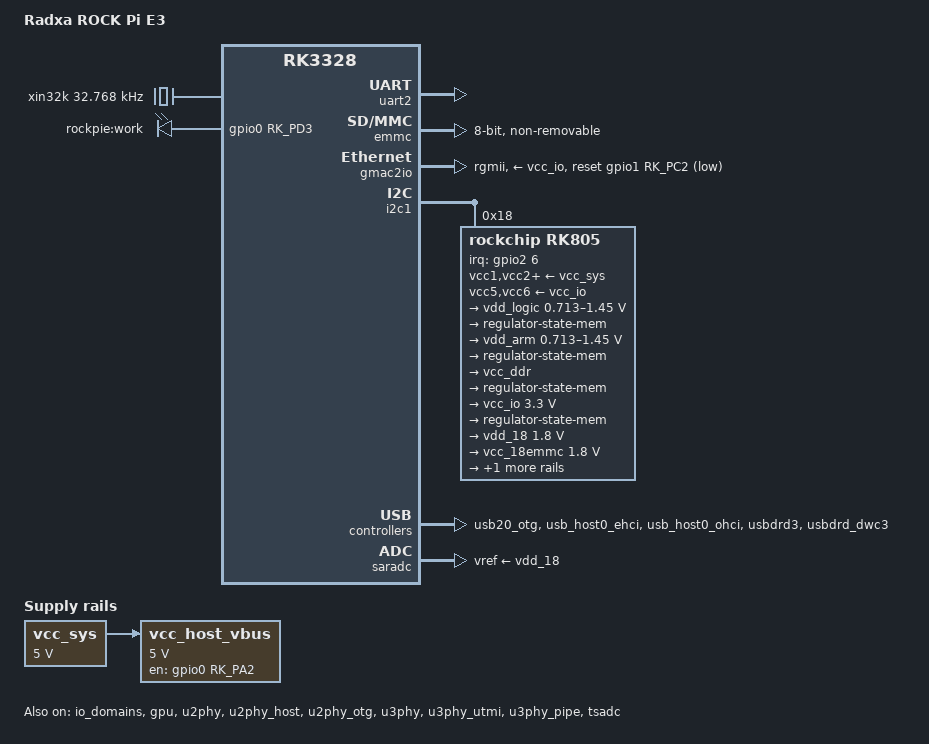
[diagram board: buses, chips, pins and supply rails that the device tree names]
/*
 * Copyright (c) 2016 Fuzhou Rockchip Electronics Co., Ltd
 *
 * This file is dual-licensed: you can use it either under the terms
 * of the GPL or the X11 license, at your option. Note that this dual
 * licensing only applies to this file, and not this project as a
 * whole.
 *
 *  a) This library is free software; you can redistribute it and/or
 *     modify it under the terms of the GNU General Public License as
 *     published by the Free Software Foundation; either version 2 of the
 *     License, or (at your option) any later version.
 *
 *     This library is distributed in the hope that it will be useful,
 *     but WITHOUT ANY WARRANTY; without even the implied warranty of
 *     MERCHANTABILITY or FITNESS FOR A PARTICULAR PURPOSE.  See the
 *     GNU General Public License for more details.
 *
 * Or, alternatively,
 *
 *  b) Permission is hereby granted, free of charge, to any person
 *     obtaining a copy of this software and associated documentation
 *     files (the "Software"), to deal in the Software without
 *     restriction, including without limitation the rights to use,
 *     copy, modify, merge, publish, distribute, sublicense, and/or
 *     sell copies of the Software, and to permit persons to whom the
 *     Software is furnished to do so, subject to the following
 *     conditions:
 *
 *     The above copyright notice and this permission notice shall be
 *     included in all copies or substantial portions of the Software.
 *
 *     THE SOFTWARE IS PROVIDED "AS IS", WITHOUT WARRANTY OF ANY KIND,
 *     EXPRESS OR IMPLIED, INCLUDING BUT NOT LIMITED TO THE WARRANTIES
 *     OF MERCHANTABILITY, FITNESS FOR A PARTICULAR PURPOSE AND
 *     NONINFRINGEMENT. IN NO EVENT SHALL THE AUTHORS OR COPYRIGHT
 *     HOLDERS BE LIABLE FOR ANY CLAIM, DAMAGES OR OTHER LIABILITY,
 *     WHETHER IN AN ACTION OF CONTRACT, TORT OR OTHERWISE, ARISING
 *     FROM, OUT OF OR IN CONNECTION WITH THE SOFTWARE OR THE USE OR
 *     OTHER DEALINGS IN THE SOFTWARE.
 */

/dts-v1/;
#include "rk3328.dtsi"
#include <dt-bindings/input/input.h>

/ {
	model = "Radxa ROCK Pi E3";
	compatible = "radxa,rockpie3", "rockchip,rk3328";

	vcc_host_vbus: host-vbus-regulator {
		compatible = "regulator-fixed";
		enable-active-high;
		gpio = <&gpio0 RK_PA2 GPIO_ACTIVE_HIGH>;
		pinctrl-names = "default";
		pinctrl-0 = <&host_vbus_drv>;
		regulator-name = "vcc_host_vbus";
		regulator-min-microvolt = <5000000>;
		regulator-max-microvolt = <5000000>;
		regulator-always-on;
		vin-supply = <&vcc_sys>;
	};

	vcc_sys: vcc-sys {
		compatible = "regulator-fixed";
		regulator-name = "vcc_sys";
		regulator-always-on;
		regulator-boot-on;
		regulator-min-microvolt = <5000000>;
		regulator-max-microvolt = <5000000>;
	};

	xin32k: xin32k {
		compatible = "fixed-clock";
		clock-frequency = <32768>;
		clock-output-names = "xin32k";
		#clock-cells = <0>;
	};

	gpio-leds {
		compatible = "gpio-leds";
		status = "okay";

		work-led {
			label = "rockpie:work";
			gpios = <&gpio0 RK_PD3 GPIO_ACTIVE_HIGH>;
			linux,default-trigger = "heartbeat";
			default-state = "on";
		};
	};
};

&io_domains {
	status = "okay";

	vccio1-supply = <&vcc_io>;
	vccio2-supply = <&vcc_18emmc>;
	vccio3-supply = <&vcc_io>;
	vccio4-supply = <&vcc_io>;
	vccio5-supply = <&vcc_io>;
	vccio6-supply = <&vcc_io>;
	pmuio-supply = <&vcc_io>;
};

&cpu0 {
	cpu-supply = <&vdd_arm>;
};

&cpu1 {
	cpu-supply = <&vdd_arm>;
};

&cpu2 {
	cpu-supply = <&vdd_arm>;
};

&cpu3 {
	cpu-supply = <&vdd_arm>;
};

&gpu {
	status = "okay";
	mali-supply = <&vdd_logic>;
};

&uart2 {
	status = "okay";
};

&emmc {
	bus-width = <8>;
	cap-mmc-highspeed;
	mmc-hs200-1_8v;
	supports-emmc;
	disable-wp;
	non-removable;
	num-slots = <1>;
	pinctrl-names = "default";
	pinctrl-0 = <&emmc_clk &emmc_cmd &emmc_bus8>;
	status = "okay";
};

&cru {
	compatible = "rockchip,rk3328-cru", "rockchip,cru", "syscon";
	reg = <0x0 0xff440000 0x0 0x1000>;
	rockchip,grf = <&grf>;
	#clock-cells = <1>;
	#reset-cells = <1>;
	assigned-clocks =
		<&cru DCLK_LCDC>, <&cru SCLK_PDM>,
		<&cru SCLK_RTC32K>, <&cru SCLK_UART0>,
		<&cru SCLK_UART1>, <&cru SCLK_UART2>,
		<&cru ACLK_BUS_PRE>, <&cru ACLK_PERI_PRE>,
		<&cru ACLK_RGA_PRE>, <&cru ACLK_RKVDEC_PRE>,
		<&cru ACLK_RKVENC>, <&cru ACLK_VPU_PRE>,
		<&cru SCLK_VDEC_CABAC>, <&cru SCLK_VDEC_CORE>,
		<&cru SCLK_VENC_CORE>, <&cru SCLK_VENC_DSP>,
		<&cru SCLK_SDIO>, <&cru SCLK_TSP>,
		<&cru SCLK_WIFI>, <&cru ARMCLK>,
		<&cru PLL_GPLL>, <&cru PLL_CPLL>,
		<&cru ACLK_BUS_PRE>, <&cru HCLK_BUS_PRE>,
		<&cru PCLK_BUS_PRE>, <&cru ACLK_PERI_PRE>,
		<&cru HCLK_PERI>, <&cru PCLK_PERI>,
		<&cru ACLK_VIO_PRE>, <&cru HCLK_VIO_PRE>,
		<&cru ACLK_RGA_PRE>, <&cru SCLK_RGA>,
		<&cru ACLK_VOP_PRE>, <&cru ACLK_RKVDEC_PRE>,
		<&cru ACLK_RKVENC>, <&cru ACLK_VPU_PRE>,
		<&cru SCLK_VDEC_CABAC>, <&cru SCLK_VDEC_CORE>,
		<&cru SCLK_VENC_CORE>, <&cru SCLK_VENC_DSP>,
		<&cru SCLK_EFUSE>, <&cru PCLK_DDR>,
		<&cru ACLK_GMAC>, <&cru PCLK_GMAC>,
		<&cru SCLK_RTC32K>, <&cru SCLK_USB3OTG_SUSPEND>,
		<&cru SCLK_MAC2IO_OUT>, <&cru SCLK_MAC2IO_SRC>;
	assigned-clock-parents =
		<&cru HDMIPHY>, <&cru PLL_APLL>,
		<&cru PLL_GPLL>, <&xin24m>,
		<&xin24m>, <&xin24m>;
	assigned-clock-rates =
		<0>, <61440000>,
		<0>, <24000000>,
		<24000000>, <24000000>,
		<15000000>, <15000000>,
		<100000000>, <100000000>,
		<50000000>, <100000000>,
		<100000000>, <100000000>,
		<50000000>, <50000000>,
		<50000000>, <50000000>,
		<24000000>, <600000000>,
		<500000000>, <1200000000>,
		<150000000>, <75000000>,
		<75000000>, <150000000>,
		<75000000>, <75000000>,
		<300000000>, <100000000>,
		<300000000>, <200000000>,
		<400000000>, <500000000>,
		<200000000>, <300000000>,
		<300000000>, <250000000>,
		<200000000>, <100000000>,
		<24000000>, <100000000>,
		<125000000>, <125000000>,
		<32768>, <32768>,
		<125000000>, <125000000>;
};

&gmac2io {
	phy-supply = <&vcc_io>;
	phy-mode = "rgmii";
	clock_in_out = "output";
//	assigned-clocks = <&cru SCLK_MAC2IO>, <&cru SCLK_MAC2IO_EXT>;
//	assigned-clock-parents = <&gmac_clkin>, <&gmac_clkin>;
	assigned-clocks = <&cru SCLK_MAC2IO>;
	assigned-clock-rate = <125000000>;
	snps,reset-gpio = <&gpio1 RK_PC2 GPIO_ACTIVE_LOW>;
	snps,reset-active-low;
	snps,reset-delays-us = <0 2000000 3000000>;
	pinctrl-names = "default";
	pinctrl-0 = <&rgmiim1_pins>;
	tx_delay = <0x12>;//need to do a loopback test
	rx_delay = <0x00>;//need to do a loopback test
	status = "okay";
};

&i2c1 {
	status = "okay";

	rk805: rk805@18 {
		compatible = "rockchip,rk805";
		status = "okay";
		reg = <0x18>;
		interrupt-parent = <&gpio2>;
		interrupts = <6 IRQ_TYPE_LEVEL_LOW>;
		pinctrl-names = "default";
		pinctrl-0 = <&pmic_int_l>;
		rockchip,system-power-controller;
		wakeup-source;
		gpio-controller;
		#gpio-cells = <2>;
		#clock-cells = <1>;
		clock-output-names = "rk805-clkout1", "rk805-clkout2";

		vcc1-supply = <&vcc_sys>;
		vcc2-supply = <&vcc_sys>;
		vcc3-supply = <&vcc_sys>;
		vcc4-supply = <&vcc_sys>;
		vcc5-supply = <&vcc_io>;
		vcc6-supply = <&vcc_io>;

		rtc {
			status = "disabled";
		};

		pwrkey {
			status = "disabled";
		};

		gpio {
			status = "okay";
		};

		regulators {
			compatible = "rk805-regulator";
			status = "okay";
			#address-cells = <1>;
			#size-cells = <0>;

			vdd_logic: RK805_DCDC1 {
				regulator-compatible = "RK805_DCDC1";
				regulator-name = "vdd_logic";
				regulator-min-microvolt = <712500>;
				regulator-max-microvolt = <1450000>;
				regulator-initial-mode = <0x1>;
				regulator-ramp-delay = <12500>;
				regulator-boot-on;
				regulator-always-on;
				regulator-state-mem {
					regulator-mode = <0x2>;
					regulator-on-in-suspend;
					regulator-suspend-microvolt = <1000000>;
				};
			};

			vdd_arm: RK805_DCDC2 {
				regulator-compatible = "RK805_DCDC2";
				regulator-name = "vdd_arm";
				regulator-min-microvolt = <712500>;
				regulator-max-microvolt = <1450000>;
				regulator-initial-mode = <0x1>;
				regulator-ramp-delay = <12500>;
				regulator-boot-on;
				regulator-always-on;
				regulator-state-mem {
					regulator-mode = <0x2>;
					regulator-on-in-suspend;
					regulator-suspend-microvolt = <950000>;
				};
			};

			vcc_ddr: RK805_DCDC3 {
				regulator-compatible = "RK805_DCDC3";
				regulator-name = "vcc_ddr";
				regulator-initial-mode = <0x1>;
				regulator-boot-on;
				regulator-always-on;
				regulator-state-mem {
					regulator-mode = <0x2>;
					regulator-on-in-suspend;
				};
			};

			vcc_io: RK805_DCDC4 {
				regulator-compatible = "RK805_DCDC4";
				regulator-name = "vcc_io";
				regulator-min-microvolt = <3300000>;
				regulator-max-microvolt = <3300000>;
				regulator-initial-mode = <0x1>;
				regulator-boot-on;
				regulator-always-on;
				regulator-state-mem {
					regulator-mode = <0x2>;
					regulator-on-in-suspend;
					regulator-suspend-microvolt = <3300000>;
				};
			};

			vdd_18: RK805_LDO1 {
				regulator-compatible = "RK805_LDO1";
				regulator-name = "vdd_18";
				regulator-min-microvolt = <1800000>;
				regulator-max-microvolt = <1800000>;
				regulator-boot-on;
				regulator-always-on;
				regulator-state-mem {
					regulator-on-in-suspend;
					regulator-suspend-microvolt = <1800000>;
				};
			};

			vcc_18emmc: RK805_LDO2 {
				regulator-compatible = "RK805_LDO2";
				regulator-name = "vcc_18emmc";
				regulator-min-microvolt = <1800000>;
				regulator-max-microvolt = <1800000>;
				regulator-boot-on;
				regulator-always-on;
				regulator-state-mem {
					regulator-on-in-suspend;
					regulator-suspend-microvolt = <1800000>;
				};
			};

			vdd_11: RK805_LDO3 {
				regulator-compatible = "RK805_LDO3";
				regulator-name = "vdd_11";
				regulator-min-microvolt = <1100000>;
				regulator-max-microvolt = <1100000>;
				regulator-boot-on;
				regulator-always-on;
				regulator-state-mem {
					regulator-on-in-suspend;
					regulator-suspend-microvolt = <1100000>;
				};
			};
		};
	};
};

&pinctrl {
	pmic {
		pmic_int_l: pmic-int-l {
			rockchip,pins =
				<2 RK_PA6 RK_FUNC_GPIO &pcfg_pull_up>;
		};
	};

	usb {
		host_vbus_drv: host-vbus-drv {
			rockchip,pins =
				<0 RK_PA2 RK_FUNC_GPIO &pcfg_pull_none>;
		};
	};
};

&u2phy {
	status = "okay";
};

&u2phy_host {
	status = "okay";
};

&u2phy_otg {
	status = "okay";
};

&u3phy {
	vbus-supply = <&vcc_host_vbus>;
	status = "okay";
};

&u3phy_utmi {
	status = "okay";
};

&u3phy_pipe {
	status = "okay";
};

&usb20_otg {
	status = "okay";
};

&usb_host0_ehci {
	status = "okay";
};

&usb_host0_ohci {
	status = "okay";
};

&usbdrd3 {
	status = "okay";
};

&usbdrd_dwc3 {
	status = "okay";
};

&saradc {
	status = "okay";
	vref-supply = <&vdd_18>;
};

&tsadc {
	status = "okay";
	rockchip,hw-tshut-mode = <1>; /* tshut mode 0:CRU 1:GPIO */
	rockchip,hw-tshut-polarity = <1>; /* tshut polarity 0:LOW 1:HIGH */
};
